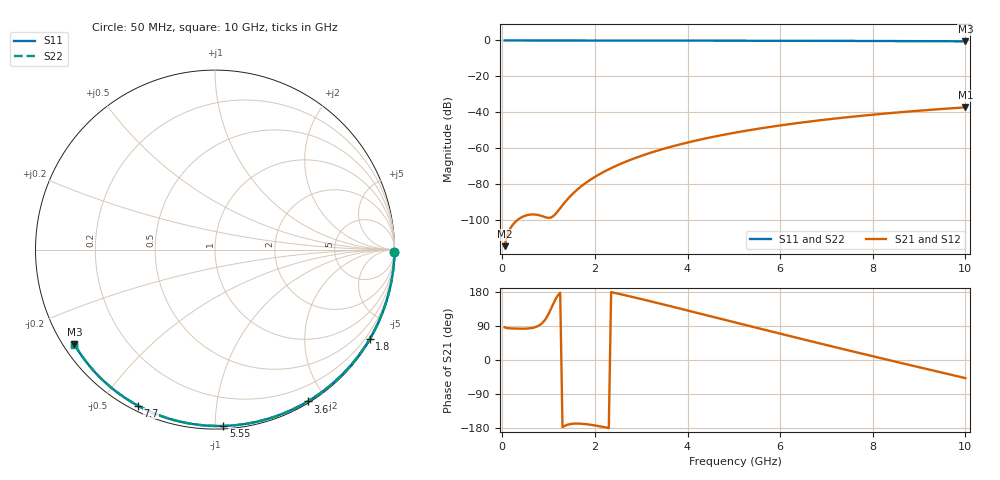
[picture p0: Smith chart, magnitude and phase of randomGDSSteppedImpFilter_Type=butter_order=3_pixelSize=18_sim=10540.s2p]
! freq	dB(S11)	phase(S11)	dB(S12)	phase(S12)
!  dB(S21)	phase(S21)	dB(S22)	phase(S22)
!S-par simulation data
#  GHz  S  DB  R 50
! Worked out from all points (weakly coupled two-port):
!   200 points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, 50 MHz to 10 GHz, reference 50 ohm
!   highest |S21| = -37.36 dB at 10 GHz (marker M1); lowest = -114.9 dB at 50 MHz (marker M2)
!   lowest |S11| = -0.5 dB at 10 GHz (marker M3), VSWR 35.23, Z = 1.55 - j15.3 ohm
!   |S11| at or under -10 dB: nowhere
!   |S22| runs from -0.5 to 0.0 dB; largest |S21 - S12| = 0
!   S11 on the Smith chart (normalised r, x): 50 MHz: open; 1.8 GHz: 0.03, -3.72; 3.6 GHz: 0.02, -1.78; 5.55 GHz: 0.02, -1.05; 7.7 GHz: 0.02, -0.62; 10 GHz: 0.03, -0.31
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0.05  -0.00 -0.9  -114.87 86.2  -114.87 86.2  -0.00 -0.9
0.45  -0.01 -7.6  -98.33 82.6  -98.33 82.6  -0.01 -7.6
0.9  -0.02 -15.2  -98.44 102.3  -98.44 102.3  -0.02 -15.2
1.3  -0.03 -21.8  -91.97 -177.3  -91.97 -177.3  -0.03 -21.8
1.75  -0.04 -29.2  -80.54 -168.6  -80.54 -168.6  -0.04 -29.2
1.8  -0.04 -30.1  -79.58 -169.2  -79.58 -169.2  -0.04 -30.1
1.95  -0.04 -32.5  -76.97 -171.7  -76.97 -171.7  -0.04 -32.5
2.1  -0.04 -35.0  -74.67 -174.8  -74.67 -174.8  -0.04 -34.9
2.3  -0.05 -38.2  -71.93 -179.6  -71.93 -179.6  -0.05 -38.2
2.5  -0.05 -41.4  -69.52 175.1  -69.52 175.1  -0.05 -41.4
2.9  -0.06 -47.7  -65.38 163.8  -65.38 163.8  -0.06 -47.7
3.4  -0.07 -55.5  -61.14 149.0  -61.14 149.0  -0.07 -55.5
3.6  -0.08 -58.6  -59.66 142.9  -59.66 142.9  -0.08 -58.6
4.3  -0.10 -69.2  -55.21 121.5  -55.21 121.5  -0.10 -69.2
5.05  -0.12 -80.2  -51.37 98.5  -51.37 98.5  -0.12 -80.2
5.55  -0.14 -87.3  -49.20 83.2  -49.20 83.2  -0.14 -87.3
6.1  -0.17 -94.9  -47.09 66.5  -47.09 66.5  -0.17 -94.9
6.7  -0.20 -103.1  -45.07 48.4  -45.07 48.4  -0.20 -103.1
7.7  -0.27 -116.4  -42.21 18.7  -42.21 18.7  -0.27 -116.4
8.35  -0.32 -124.8  -40.62 -0.3  -40.62 -0.3  -0.32 -124.8
9.2  -0.40 -135.7  -38.82 -24.9  -38.82 -24.9  -0.40 -135.7
10  -0.49 -146.0  -37.36 -47.8  -37.36 -47.8  -0.49 -146.0
